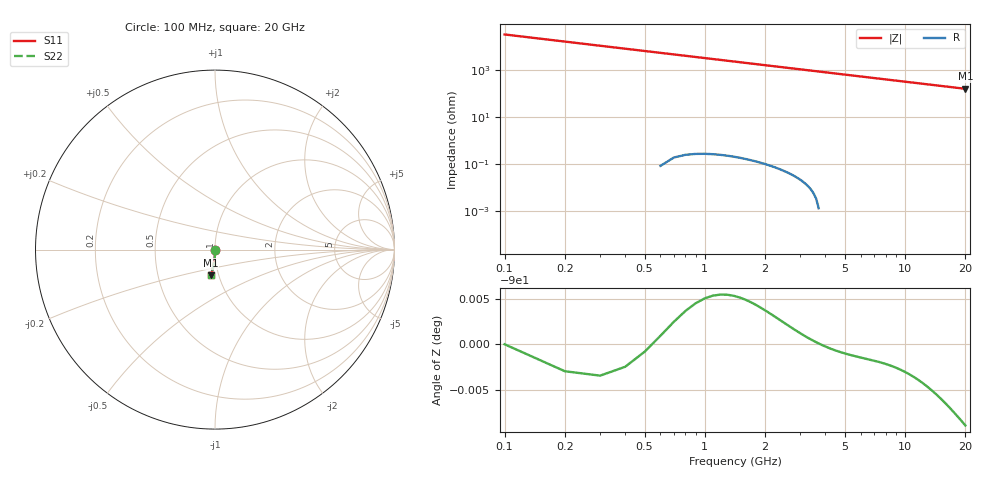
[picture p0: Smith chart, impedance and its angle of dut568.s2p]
! Touchstone file exported from HFSS 2026.1.0
!  File:  C:/ffzhzh/LocalFiles/Ansys_Project_Files/temp_train_TSV_568_1783024689_51716.aedt
!  Generated:  04:39:35 AM Jul  3, 2026
!  Design:  TSV
!  Project:  temp_train_TSV_568_1783024689_51716
! Variables:
!  h_bsmrdl = 2um
!  h_ox = 20um
!  h_rdl = 5um
!  h_sub = 56.63um
!  h_tmrdl = 5um
!  h_tsv = 56.63um
!  h_via = 3um
!  l_bsmrdl = 300um
!  l_sub = 427.2um
!  l_tmrdl = 200um
!  m_sub = 200um
!  pitch = 28.96um
!  r_tsv = 13.6um
!  s_tmrdl = 10um
!  w_bsmrdl = 18um
!  w_sub = 500um
!  w_tmrdl = 12um
!  x_tsv_center1 = 206um
!  x_tsv_center2 = 524um
!  x_tsv_center3 = 736um
!  x_tsv_center4 = 1054um
!  x_tsv_center5 = 1266um
!  x_tsv_center6 = 1584um
# GHz S MA R 50.000000
! Terminal data exported
! Port[1] = TSV1_1_T1
! Port[2] = TSV1_1_T2
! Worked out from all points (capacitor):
!   200 points, 100 MHz to 20 GHz, reference 50 ohm
!   read as one part in shunt: C = 51.5 fF near 200 MHz
!   lowest |Z| = 155 ohm at 20 GHz (marker M1)
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0.1  0.0006902 -83.3  0.9999 -0.1  0.9999 -0.1  0.0006902 -83.3
! Gamma 0 0 0 0
! Port Impedance 50 0 50 0
0.2  0.00138 -85.9  0.9999 -0.1  0.9999 -0.1  0.00138 -85.9
0.3  0.002081 -86.6  0.9999 -0.2  0.9999 -0.2  0.002081 -86.6
0.4  0.002792 -87.0  0.9998 -0.2  0.9998 -0.2  0.002792 -87.0
0.5  0.003511 -87.2  0.9998 -0.3  0.9998 -0.3  0.003511 -87.2
0.7  0.004967 -87.6  0.9997 -0.4  0.9997 -0.4  0.004967 -87.6
0.8  0.0057 -87.8  0.9997 -0.4  0.9997 -0.4  0.0057 -87.8
1  0.00717 -88.1  0.9997 -0.5  0.9997 -0.5  0.00717 -88.1
1.2  0.008642 -88.4  0.9996 -0.6  0.9996 -0.6  0.008642 -88.4
1.4  0.01011 -88.7  0.9996 -0.7  0.9996 -0.7  0.01011 -88.7
1.7  0.01232 -89.1  0.9995 -0.9  0.9995 -0.9  0.01232 -89.1
2  0.01453 -89.4  0.9995 -1.0  0.9995 -1.0  0.01453 -89.4
2.7  0.01968 -90.0  0.9993 -1.4  0.9993 -1.4  0.01968 -90.0
3.5  0.02556 -90.6  0.9991 -1.8  0.9991 -1.8  0.02556 -90.6
4.2  0.03072 -91.0  0.9989 -2.1  0.9989 -2.1  0.03072 -91.0
5  0.03662 -91.5  0.9987 -2.5  0.9987 -2.5  0.03662 -91.5
6.8  0.04989 -92.5  0.998 -3.4  0.998 -3.4  0.04989 -92.5
8.3  0.06095 -93.4  0.9973 -4.2  0.9973 -4.2  0.06095 -93.4
10.1  0.07419 -94.3  0.9963 -5.1  0.9963 -5.1  0.07419 -94.3
13.4  0.09837 -96.1  0.994 -6.7  0.994 -6.7  0.09837 -96.1
16.7  0.1224 -97.8  0.9912 -8.4  0.9912 -8.4  0.1224 -97.8
20  0.1461 -99.4  0.9878 -10.0  0.9878 -10.0  0.1461 -99.4
